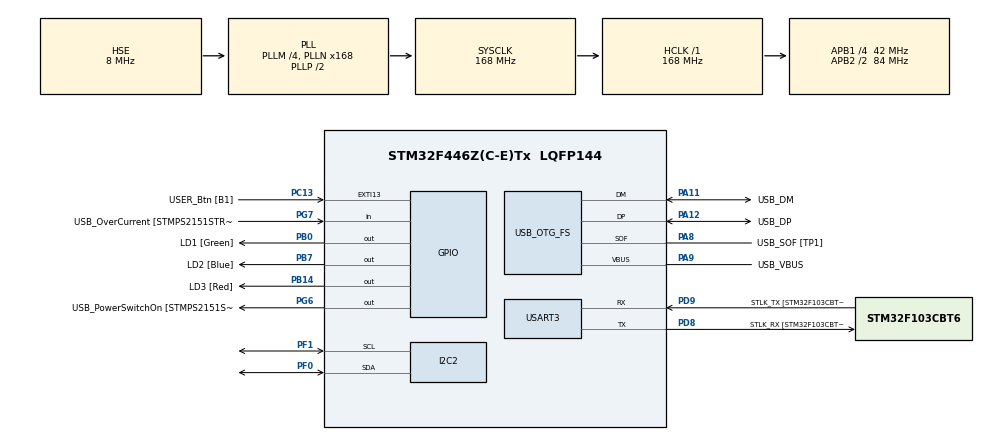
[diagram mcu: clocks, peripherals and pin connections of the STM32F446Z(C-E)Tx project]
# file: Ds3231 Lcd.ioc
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Mcu.Family=STM32F4
PH0-OSC_IN.Signal=RCC_OSC_IN
RCC.CortexFreq_Value=168000000
PG6.Signal=GPIO_Output
PB14.GPIO_Label=LD3 [Red]
PG6.GPIO_Label=USB_PowerSwitchOn [STMPS2151STR_EN]
PA14.GPIO_Label=TCK
RCC.SYSCLKSourceVirtual=RCC_SYSCLKSOURCE_PLLCLK
PA11.Mode=Device_Only
PB0.GPIO_Label=LD1 [Green]
PC13.GPIO_Label=USER_Btn [B1]
PD9.Mode=Asynchronous
RCC.SYSCLKSource=RCC_SYSCLKSOURCE_PLLCLK
ProjectManager.StackSize=0x400
PA12.Signal=USB_OTG_FS_DP
RCC.HCLKFreq_Value=168000000
RCC.APB2TimFreq_Value=168000000
PD8.Signal=USART3_TX
RCC.AHBFreq_Value=168000000
PH0-OSC_IN.Mode=HSE-External-Clock-Source
PH0-OSC_IN.GPIO_Label=MCO [STM32F103CBT6_PA8]
RCC.HSE_VALUE=8000000
RCC.PLLMUL=RCC_PLL_MUL9
PC14-OSC32_IN.Mode=LSE-External-Oscillator
PA14.Mode=Serial_Wire
PA10.GPIO_Label=USB_ID
PB7.Signal=GPIO_Output
PA8.Signal=USB_OTG_FS_SOF
PB7.GPIO_Label=LD2 [Blue]
PH1-OSC_OUT.Mode=HSE-External-Clock-Source
Mcu.Package=LQFP144
PA10.Signal=USB_OTG_FS_ID
USB_OTG_FS.VirtualMode=Device_Only
RCC.APB2CLKDivider=RCC_HCLK_DIV2
RCC.APB1TimFreq_Value=84000000
PF0.Signal=I2C2_SDA
PC15-OSC32_OUT.Mode=LSE-External-Oscillator
PG7.Signal=GPIO_Input
PD9.GPIO_Label=STLK_TX [STM32F103CBT6_PA2]
PC13.Signal=GPXTI13
PA9.GPIO_Label=USB_VBUS
PA11.GPIO_Label=USB_DM
PD9.Signal=USART3_RX
RCC.APB1CLKDivider=RCC_HCLK_DIV4
PC14-OSC32_IN.Signal=RCC_OSC32_IN
PA12.GPIO_Label=USB_DP
PD8.GPIO_Label=STLK_RX [STM32F103CBT6_PA3]
PA13.Signal=SYS_JTMS-SWDIO
PF1.Mode=I2C
PA9.Mode=Activate_VBUS
PA8.GPIO_Label=USB_SOF [TP1]
ProjectManager.TargetToolchain=STM32CubeIDE
PA9.Signal=USB_OTG_FS_VBUS
RCC.USBFreq_Value=48000000
PC15-OSC32_OUT.Signal=RCC_OSC32_OUT
PD8.Mode=Asynchronous
PB14.Signal=GPIO_Output
board=NUCLEO-F446ZE
RCC.VCOOutputFreq_Value=336000000
RCC.APB2Freq_Value=84000000
RCC.PRESCALERUSB=RCC_USBCLKSOURCE_PLL_DIV1_5
PG7.GPIO_Label=USB_OverCurrent [STMPS2151STR_FAULT]
PH1-OSC_OUT.Signal=RCC_OSC_OUT
PF1.Signal=I2C2_SCL
PA13.Mode=Serial_Wire
Mcu.Name=STM32F446Z(C-E)Tx
PA13.GPIO_Label=TMS
RCC.48MHZClocksFreq_Value=24000000
RCC.SYSCLKFreq_VALUE=168000000
PA12.Mode=Device_Only
USART3.VirtualMode=VM_ASYNC
PA11.Signal=USB_OTG_FS_DM
PA14.Signal=SYS_JTCK-SWCLK
ProjectManager.HeapSize=0x200
PF0.Mode=I2C
RCC.HSI_VALUE=16000000
RCC.PLLQ=7
NVIC.PriorityGroup=NVIC_PRIORITYGROUP_4
RCC.PLLM=4
RCC.PLLN=168
PA8.Mode=Activate_SOF_FS
RCC.APB1Freq_Value=42000000
PB0.Signal=GPIO_Output

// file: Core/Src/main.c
/* USER CODE BEGIN Header */
/**
  ******************************************************************************
  * @file           : main.c
  * @brief          : Main program body
  ******************************************************************************
  * @attention
  *
  * <h2><center>&copy; Copyright (c) 2021 STMicroelectronics.
  * All rights reserved.</center></h2>
  *
  * This software component is licensed by ST under BSD 3-Clause license,
  * the "License"; You may not use this file except in compliance with the
  * License. You may obtain a copy of the License at:
  *                        opensource.org/licenses/BSD-3-Clause
  *
  ******************************************************************************
  */
/* USER CODE END Header */
#include "main.h"

/* USER CODE BEGIN Includes */
#include "string.h"
#include <stdio.h>

#include "i2c-lcd.h"
#include "ds3231.h"

/* USER CODE END Includes */

I2C_HandleTypeDef hi2c2;

UART_HandleTypeDef huart3;

PCD_HandleTypeDef hpcd_USB_OTG_FS;

/* USER CODE BEGIN PV */
I2C_HandleTypeDef I2C_LCD;
I2C_HandleTypeDef I2C_DS3231;

uint8_t 		 hora[8];
uint8_t 		fecha[14];

/* USER CODE END PV */

void SystemClock_Config(void);
static void MX_GPIO_Init(void);
static void MX_USART3_UART_Init(void);
static void MX_USB_OTG_FS_PCD_Init(void);
static void MX_I2C2_Init(void);

int main(void)
{

  /* MCU Configuration--------------------------------------------------------*/

  /* Reset of all peripherals, Initializes the Flash interface and the Systick. */
  HAL_Init();

  /* Configure the system clock */
  SystemClock_Config();

  /* Initialize all configured peripherals */
  MX_GPIO_Init();
  MX_USART3_UART_Init();
  MX_USB_OTG_FS_PCD_Init();
  MX_I2C2_Init();
  /* USER CODE BEGIN 2 */
  I2C_LCD   = hi2c2 ;
  I2C_DS3231 = hi2c2;
  lcd_init();

  /* USER CODE END 2 */

  /* Infinite loop */
  while (1)
  {

    /* USER CODE BEGIN 3 */
	  ds3231_get_hora	 ( (char *) hora  );
	  ds3231_get_fecha	 ( ( char *)fecha );

	  lcd_send_string_file ( File_1, ( char *)hora );
	  lcd_send_string_file ( File_2, ( char *)fecha );

	  HAL_Delay ( 1000 );

  }
  /* USER CODE END 3 */
}

void SystemClock_Config(void)
{
  RCC_OscInitTypeDef RCC_OscInitStruct = {0};
  RCC_ClkInitTypeDef RCC_ClkInitStruct = {0};
  RCC_PeriphCLKInitTypeDef PeriphClkInitStruct = {0};

  /** Configure the main internal regulator output voltage
  */
  __HAL_RCC_PWR_CLK_ENABLE();
  __HAL_PWR_VOLTAGESCALING_CONFIG(PWR_REGULATOR_VOLTAGE_SCALE1);
  /** Initializes the RCC Oscillators according to the specified parameters
  * in the RCC_OscInitTypeDef structure.
  */
  RCC_OscInitStruct.OscillatorType = RCC_OSCILLATORTYPE_HSE;
  RCC_OscInitStruct.HSEState = RCC_HSE_BYPASS;
  RCC_OscInitStruct.PLL.PLLState = RCC_PLL_ON;
  RCC_OscInitStruct.PLL.PLLSource = RCC_PLLSOURCE_HSE;
  RCC_OscInitStruct.PLL.PLLM = 4;
  RCC_OscInitStruct.PLL.PLLN = 168;
  RCC_OscInitStruct.PLL.PLLP = RCC_PLLP_DIV2;
  RCC_OscInitStruct.PLL.PLLQ = 7;
  RCC_OscInitStruct.PLL.PLLR = 2;
  if (HAL_RCC_OscConfig(&RCC_OscInitStruct) != HAL_OK)
  {
    Error_Handler();
  }
  /** Initializes the CPU, AHB and APB buses clocks
  */
  RCC_ClkInitStruct.ClockType = RCC_CLOCKTYPE_HCLK|RCC_CLOCKTYPE_SYSCLK
                              |RCC_CLOCKTYPE_PCLK1|RCC_CLOCKTYPE_PCLK2;
  RCC_ClkInitStruct.SYSCLKSource = RCC_SYSCLKSOURCE_PLLCLK;
  RCC_ClkInitStruct.AHBCLKDivider = RCC_SYSCLK_DIV1;
  RCC_ClkInitStruct.APB1CLKDivider = RCC_HCLK_DIV4;
  RCC_ClkInitStruct.APB2CLKDivider = RCC_HCLK_DIV2;

  if (HAL_RCC_ClockConfig(&RCC_ClkInitStruct, FLASH_LATENCY_5) != HAL_OK)
  {
    Error_Handler();
  }
  PeriphClkInitStruct.PeriphClockSelection = RCC_PERIPHCLK_CLK48;
  PeriphClkInitStruct.Clk48ClockSelection = RCC_CLK48CLKSOURCE_PLLQ;
  if (HAL_RCCEx_PeriphCLKConfig(&PeriphClkInitStruct) != HAL_OK)
  {
    Error_Handler();
  }
}

static void MX_I2C2_Init(void)
{

  hi2c2.Instance = I2C2;
  hi2c2.Init.ClockSpeed = 100000;
  hi2c2.Init.DutyCycle = I2C_DUTYCYCLE_2;
  hi2c2.Init.OwnAddress1 = 0;
  hi2c2.Init.AddressingMode = I2C_ADDRESSINGMODE_7BIT;
  hi2c2.Init.DualAddressMode = I2C_DUALADDRESS_DISABLE;
  hi2c2.Init.OwnAddress2 = 0;
  hi2c2.Init.GeneralCallMode = I2C_GENERALCALL_DISABLE;
  hi2c2.Init.NoStretchMode = I2C_NOSTRETCH_DISABLE;
  if (HAL_I2C_Init(&hi2c2) != HAL_OK)
  {
    Error_Handler();
  }

}

static void MX_USART3_UART_Init(void)
{

  huart3.Instance = USART3;
  huart3.Init.BaudRate = 115200;
  huart3.Init.WordLength = UART_WORDLENGTH_8B;
  huart3.Init.StopBits = UART_STOPBITS_1;
  huart3.Init.Parity = UART_PARITY_NONE;
  huart3.Init.Mode = UART_MODE_TX_RX;
  huart3.Init.HwFlowCtl = UART_HWCONTROL_NONE;
  huart3.Init.OverSampling = UART_OVERSAMPLING_16;
  if (HAL_UART_Init(&huart3) != HAL_OK)
  {
    Error_Handler();
  }

}

static void MX_USB_OTG_FS_PCD_Init(void)
{

  hpcd_USB_OTG_FS.Instance = USB_OTG_FS;
  hpcd_USB_OTG_FS.Init.dev_endpoints = 6;
  hpcd_USB_OTG_FS.Init.speed = PCD_SPEED_FULL;
  hpcd_USB_OTG_FS.Init.dma_enable = DISABLE;
  hpcd_USB_OTG_FS.Init.phy_itface = PCD_PHY_EMBEDDED;
  hpcd_USB_OTG_FS.Init.Sof_enable = ENABLE;
  hpcd_USB_OTG_FS.Init.low_power_enable = DISABLE;
  hpcd_USB_OTG_FS.Init.lpm_enable = DISABLE;
  hpcd_USB_OTG_FS.Init.vbus_sensing_enable = ENABLE;
  hpcd_USB_OTG_FS.Init.use_dedicated_ep1 = DISABLE;
  if (HAL_PCD_Init(&hpcd_USB_OTG_FS) != HAL_OK)
  {
    Error_Handler();
  }

}

static void MX_GPIO_Init(void)
{
  GPIO_InitTypeDef GPIO_InitStruct = {0};

  /* GPIO Ports Clock Enable */
  __HAL_RCC_GPIOC_CLK_ENABLE();
  __HAL_RCC_GPIOF_CLK_ENABLE();
  __HAL_RCC_GPIOH_CLK_ENABLE();
  __HAL_RCC_GPIOB_CLK_ENABLE();
  __HAL_RCC_GPIOD_CLK_ENABLE();
  __HAL_RCC_GPIOG_CLK_ENABLE();
  __HAL_RCC_GPIOA_CLK_ENABLE();

  /*Configure GPIO pin Output Level */
  HAL_GPIO_WritePin(GPIOB, LD1_Pin|LD3_Pin|LD2_Pin, GPIO_PIN_RESET);

  /*Configure GPIO pin Output Level */
  HAL_GPIO_WritePin(USB_PowerSwitchOn_GPIO_Port, USB_PowerSwitchOn_Pin, GPIO_PIN_RESET);

  /*Configure GPIO pin : USER_Btn_Pin */
  GPIO_InitStruct.Pin = USER_Btn_Pin;
  GPIO_InitStruct.Mode = GPIO_MODE_IT_RISING;
  GPIO_InitStruct.Pull = GPIO_NOPULL;
  HAL_GPIO_Init(USER_Btn_GPIO_Port, &GPIO_InitStruct);

  /*Configure GPIO pins : LD1_Pin LD3_Pin LD2_Pin */
  GPIO_InitStruct.Pin = LD1_Pin|LD3_Pin|LD2_Pin;
  GPIO_InitStruct.Mode = GPIO_MODE_OUTPUT_PP;
  GPIO_InitStruct.Pull = GPIO_NOPULL;
  GPIO_InitStruct.Speed = GPIO_SPEED_FREQ_LOW;
  HAL_GPIO_Init(GPIOB, &GPIO_InitStruct);

  /*Configure GPIO pin : USB_PowerSwitchOn_Pin */
  GPIO_InitStruct.Pin = USB_PowerSwitchOn_Pin;
  GPIO_InitStruct.Mode = GPIO_MODE_OUTPUT_PP;
  GPIO_InitStruct.Pull = GPIO_NOPULL;
  GPIO_InitStruct.Speed = GPIO_SPEED_FREQ_LOW;
  HAL_GPIO_Init(USB_PowerSwitchOn_GPIO_Port, &GPIO_InitStruct);

  /*Configure GPIO pin : USB_OverCurrent_Pin */
  GPIO_InitStruct.Pin = USB_OverCurrent_Pin;
  GPIO_InitStruct.Mode = GPIO_MODE_INPUT;
  GPIO_InitStruct.Pull = GPIO_NOPULL;
  HAL_GPIO_Init(USB_OverCurrent_GPIO_Port, &GPIO_InitStruct);

}

void Error_Handler(void)
{
  __disable_irq();
  while (1)
  {
  }
}

/************************ (C) COPYRIGHT STMicroelectronics *****END OF FILE****/
